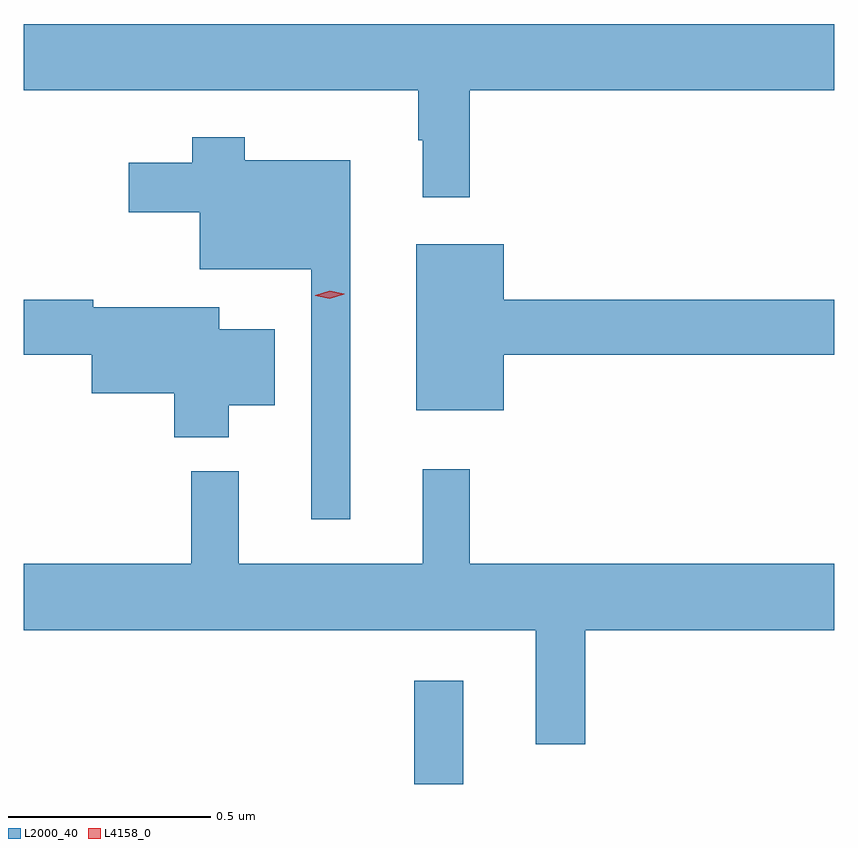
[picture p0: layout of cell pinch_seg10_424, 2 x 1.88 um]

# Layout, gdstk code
import gdstk
lib = gdstk.Library(unit=1e-6, precision=1e-09)
def R(c, l, rs):  # rectangles x0, y0, x1, y1
    for r in rs: c.add(gdstk.rectangle(r[:2], r[2:], *l))
def P(c, l, *ps):  # polygons
    for p in ps: c.add(gdstk.Polygon(p, *l))
L2000_40 = (2000, 40)
L4158_0 = (4158, 0)

pinch_seg10_424 = lib.new_cell('pinch_seg10_424')
R(pinch_seg10_424, L2000_40, [(602.388,1253.317,602.509,1253.572)])
P(pinch_seg10_424, L2000_40, [(602.525,1255.028),(603.424,1255.028),(603.424,1255.192),(601.424,1255.192),(601.424,1255.028),(602.397,1255.028),(602.397,1254.905),(602.408,1254.905),(602.408,1254.765),(602.525,1254.765)],
  [(602.23,1254.856),(601.969,1254.856),(601.969,1254.913),(601.84,1254.913),(601.84,1254.85),(601.683,1254.85),(601.683,1254.728),(601.859,1254.728),(601.859,1254.587),(602.133,1254.587),(602.133,1253.97),(602.23,1253.97)],
  [(602.608,1254.376),(603.424,1254.376),(603.424,1254.512),(602.608,1254.512),(602.608,1254.649),(602.393,1254.649),(602.393,1254.239),(602.608,1254.239)],
  [(601.93,1254.251),(602.044,1254.251),(602.044,1254.439),(601.906,1254.439),(601.906,1254.493),(601.596,1254.493),(601.596,1254.512),(601.424,1254.512),(601.424,1254.376),(601.592,1254.376),(601.592,1254.281),(601.796,1254.281),(601.796,1254.173),(601.93,1254.173)],
  [(602.809,1253.696),(603.424,1253.696),(603.424,1253.86),(602.525,1253.86),(602.525,1254.094),(602.408,1254.094),(602.408,1253.86),(601.955,1253.86),(601.955,1254.088),(601.837,1254.088),(601.837,1253.86),(601.424,1253.86),(601.424,1253.696),(602.687,1253.696),(602.687,1253.415),(602.809,1253.415)])
P(pinch_seg10_424, L4158_0, [(602.179,1254.514),(602.143,1254.522),(602.143,1254.523),(602.143,1254.523),(602.179,1254.534),(602.215,1254.526),(602.215,1254.526),(602.215,1254.525)])

lib.write_gds('pinch_seg10_424.gds')
